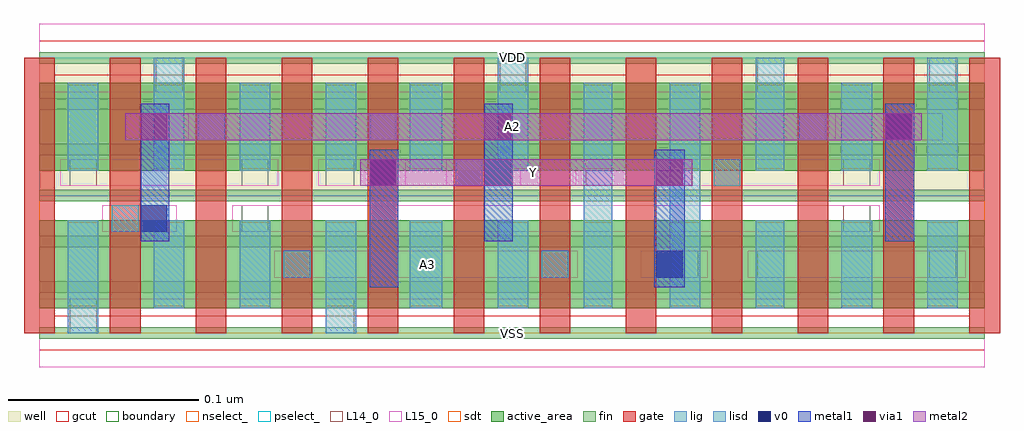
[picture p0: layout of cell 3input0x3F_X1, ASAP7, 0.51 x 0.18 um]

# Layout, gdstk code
import gdstk
lib = gdstk.Library(unit=1e-6, precision=1e-09)
def R(c, l, rs):  # rectangles x0, y0, x1, y1
    for r in rs: c.add(gdstk.rectangle(r[:2], r[2:], *l))
def A(c, l, x, y, w, h, nx, ny, dx, dy):  # array of equal rectangles
    R(c, l, [(x+i*dx, y+j*dy, x+i*dx+w, y+j*dy+h) for i in range(nx) for j in range(ny)])
def P(c, l, *ps):  # polygons
    for p in ps: c.add(gdstk.Polygon(p, *l))
well = (1, 0)
fin = (2, 0)
gate = (7, 0)
gcut = (10, 0)
active_area = (11, 0)
nselect_ = (12, 0)
pselect_ = (13, 0)
L14_0 = (14, 0)
L15_0 = (15, 0)
lig = (16, 0)
lisd = (17, 0)
v0 = (18, 0)
metal1 = (19, 0)
metal2 = (20, 0)
via1 = (21, 0)
sdt = (88, 0)
boundary = (100, 0)

c_3input0x3f_x1 = lib.new_cell('3input0x3F_X1')
R(c_3input0x3f_x1, well, [(0,0.072,0.495,0.144)])
A(c_3input0x3f_x1, fin, 0, -0.003, 0.495, 0.006, 1, 7, 0, 0.024)
A(c_3input0x3f_x1, gate, -0.008, 0, 0.016, 0.144, 12, 1, 0.045, 0)
P(c_3input0x3f_x1, gcut, [(0,-0.009),(0,0),(-0.008,0),(-0.008,0.135),(0.008,0.135),(0.008,0.009),(0.307,0.009),(0.307,0.135),(0.323,0.135),(0.323,0.009),(0.487,0.009),(0.487,0.135),(-0.008,0.135),(-0.008,0.144),(0,0.144),(0,0.153),(0.495,0.153),(0.495,0.144),(0.503,0.144),(0.503,0),(0.495,0),(0.495,-0.009)])
R(c_3input0x3f_x1, active_area, [(0,0.013,0.495,0.059), (0,0.085,0.495,0.131)])
R(c_3input0x3f_x1, nselect_, [(0,0,0.495,0.072)])
R(c_3input0x3f_x1, pselect_, [(0,0.072,0.495,0.144)])
R(c_3input0x3f_x1, L14_0, [(0.016,0,0.03,0.018), (0.15,0,0.165,0.018), (0.128,0.029,0.142,0.043), (0.263,0.029,0.277,0.043), (0.331,0.029,0.345,0.043), (0.376,0.029,0.39,0.043), (0.466,0.029,0.48,0.043), (0.038,0.053,0.052,0.067), (0.106,0.053,0.12,0.067), (0.421,0.053,0.435,0.067), (0.016,0.077,0.03,0.091), (0.106,0.077,0.12,0.091), (0.15,0.077,0.165,0.091), (0.218,0.077,0.232,0.091), (0.286,0.077,0.3,0.091), (0.353,0.077,0.367,0.091), (0.421,0.077,0.435,0.091), (0.083,0.101,0.097,0.115), (0.173,0.101,0.187,0.115), (0.398,0.101,0.412,0.115), (0.443,0.101,0.457,0.115), (0.061,0.126,0.075,0.144), (0.241,0.126,0.255,0.144), (0.376,0.126,0.39,0.144), (0.466,0.126,0.48,0.144)])
R(c_3input0x3f_x1, L15_0, [(0,-0.018,0.495,0.018), (0.123,0.029,0.282,0.043), (0.315,0.029,0.35,0.043), (0.371,0.029,0.485,0.043), (0.033,0.053,0.072,0.067), (0.101,0.053,0.44,0.067), (0.011,0.077,0.125,0.091), (0.146,0.077,0.192,0.091), (0.213,0.077,0.252,0.091), (0.281,0.077,0.44,0.091), (0.078,0.101,0.417,0.115), (0.438,0.101,0.473,0.115), (0,0.126,0.495,0.162)])
R(c_3input0x3f_x1, lig, [(0.128,0.029,0.142,0.043), (0.263,0.029,0.277,0.043), (0.038,0.053,0.052,0.067), (0.218,0.077,0.232,0.091), (0.353,0.077,0.367,0.091), (0.083,0.101,0.097,0.115), (0.173,0.101,0.187,0.115), (0.398,0.101,0.412,0.115), (0.443,0.101,0.457,0.115)])
R(c_3input0x3f_x1, lisd, [(0.015,0,0.031,0.059), (0.15,0,0.166,0.059), (0.06,0.013,0.076,0.059), (0.105,0.013,0.121,0.059), (0.194,0.013,0.211,0.059), (0.24,0.013,0.256,0.059), (0.285,0.013,0.3,0.131), (0.33,0.013,0.346,0.131), (0.375,0.013,0.39,0.059), (0.42,0.013,0.436,0.059), (0.465,0.013,0.481,0.059), (0.015,0.085,0.031,0.131), (0.06,0.085,0.076,0.144), (0.105,0.085,0.121,0.131), (0.15,0.085,0.166,0.131), (0.194,0.085,0.211,0.131), (0.24,0.085,0.256,0.144), (0.375,0.085,0.39,0.144), (0.42,0.085,0.436,0.131), (0.465,0.085,0.481,0.144)])
R(c_3input0x3f_x1, v0, [(0.323,0.029,0.337,0.043), (0.053,0.053,0.067,0.067), (0.173,0.077,0.187,0.091), (0.233,0.077,0.247,0.091), (0.443,0.101,0.457,0.115)])
R(c_3input0x3f_x1, metal1, [(0.173,0.024,0.188,0.096), (0.322,0.024,0.338,0.096), (0.053,0.048,0.068,0.12), (0.233,0.048,0.248,0.12), (0.443,0.048,0.458,0.12)])
R(c_3input0x3f_x1, metal2, [(0.168,0.077,0.342,0.091), (0.045,0.101,0.462,0.115)])
R(c_3input0x3f_x1, via1, [(0.173,0.077,0.187,0.091), (0.323,0.077,0.337,0.091), (0.053,0.101,0.067,0.115), (0.233,0.101,0.247,0.115), (0.443,0.101,0.457,0.115)])
A(c_3input0x3f_x1, sdt, 0.015, 0.014, 0.016, 0.044, 4, 2, 0.045, 0.072)
A(c_3input0x3f_x1, sdt, 0.24, 0.014, 0.016, 0.044, 3, 2, 0.09, 0.072)
R(c_3input0x3f_x1, sdt, [(0.194,0.014,0.211,0.058), (0.285,0.014,0.3,0.058), (0.375,0.014,0.39,0.058), (0.465,0.014,0.481,0.058), (0.194,0.086,0.211,0.13), (0.285,0.086,0.3,0.13), (0.375,0.086,0.39,0.13), (0.465,0.086,0.481,0.13)])
R(c_3input0x3f_x1, boundary, [(0,0,0.495,0.144)])
c_3input0x3f_x1.add(gdstk.Label('VSS', (0.248,0), layer=15, texttype=251))
c_3input0x3f_x1.add(gdstk.Label('VDD', (0.248,0.144), layer=15, texttype=251))
c_3input0x3f_x1.add(gdstk.Label('VSS', (0.248,0), layer=15, texttype=251))
c_3input0x3f_x1.add(gdstk.Label('VDD', (0.248,0.144), layer=15, texttype=251))
c_3input0x3f_x1.add(gdstk.Label('A3', (0.203,0.036), layer=15, texttype=251))
c_3input0x3f_x1.add(gdstk.Label('VSS', (0.248,0), layer=15, texttype=251))
c_3input0x3f_x1.add(gdstk.Label('VDD', (0.248,0.144), layer=15, texttype=251))
c_3input0x3f_x1.add(gdstk.Label('A2', (0.248,0.108), layer=15, texttype=251))
c_3input0x3f_x1.add(gdstk.Label('VSS', (0.248,0), layer=15, texttype=251))
c_3input0x3f_x1.add(gdstk.Label('VDD', (0.248,0.144), layer=15, texttype=251))
c_3input0x3f_x1.add(gdstk.Label('VSS', (0.248,0), layer=3, texttype=251))
c_3input0x3f_x1.add(gdstk.Label('VSS', (0.248,0), layer=3, texttype=251))
c_3input0x3f_x1.add(gdstk.Label('VSS', (0.248,0), layer=3, texttype=251))
c_3input0x3f_x1.add(gdstk.Label('VSS', (0.248,0), layer=3, texttype=251))
c_3input0x3f_x1.add(gdstk.Label('VDD', (0.248,0.144), layer=1, texttype=251))
c_3input0x3f_x1.add(gdstk.Label('VDD', (0.248,0.144), layer=1, texttype=251))
c_3input0x3f_x1.add(gdstk.Label('VDD', (0.248,0.144), layer=1, texttype=251))
c_3input0x3f_x1.add(gdstk.Label('VDD', (0.248,0.144), layer=1, texttype=251))
c_3input0x3f_x1.add(gdstk.Label('A1', (0.248,0.108), layer=20, texttype=251))
c_3input0x3f_x1.add(gdstk.Label('Y', (0.259,0.084), layer=20, texttype=251))

lib.write_gds('3input0x3F_X1.gds')
